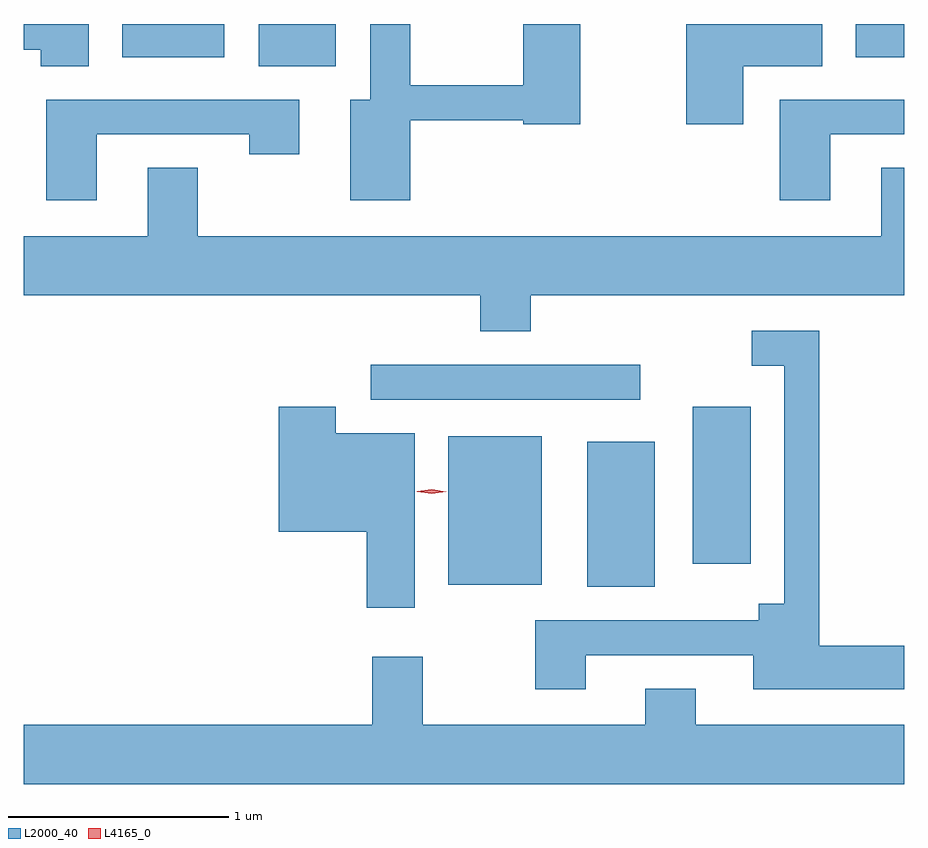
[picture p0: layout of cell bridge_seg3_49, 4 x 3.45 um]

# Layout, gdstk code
import gdstk
lib = gdstk.Library(unit=1e-6, precision=1e-09)
def R(c, l, rs):  # rectangles x0, y0, x1, y1
    for r in rs: c.add(gdstk.rectangle(r[:2], r[2:], *l))
def P(c, l, *ps):  # polygons
    for p in ps: c.add(gdstk.Polygon(p, *l))
L2000_40 = (2000, 40)
L4165_0 = (4165, 0)

bridge_seg3_49 = lib.new_cell('bridge_seg3_49')
R(bridge_seg3_49, L2000_40, [(1206.416,1164.651,1206.724,1165.309), (1205.786,1164.661,1206.209,1165.334), (1206.896,1164.756,1207.159,1165.469), (1205.433,1165.501,1206.658,1165.659), (1204.926,1167.016,1205.274,1167.207), (1204.306,1167.056,1204.769,1167.207), (1207.636,1167.056,1207.857,1167.207)])
P(bridge_seg3_49, L2000_40, [(1207.124,1167.016),(1207.484,1167.016),(1207.484,1167.207),(1206.866,1167.207),(1206.866,1166.751),(1207.124,1166.751)],
  [(1204.154,1167.207),(1203.857,1167.207),(1203.857,1167.091),(1203.936,1167.091),(1203.936,1167.016),(1204.154,1167.016)],
  [(1205.614,1166.771),(1206.126,1166.771),(1206.126,1166.751),(1206.384,1166.751),(1206.384,1167.207),(1206.126,1167.207),(1206.126,1166.929),(1205.614,1166.929),(1205.614,1167.207),(1205.431,1167.207),(1205.431,1166.864),(1205.341,1166.864),(1205.341,1166.406),(1205.614,1166.406)],
  [(1207.519,1166.706),(1207.857,1166.706),(1207.857,1166.864),(1207.291,1166.864),(1207.291,1166.406),(1207.519,1166.406)],
  [(1204.189,1166.706),(1204.881,1166.706),(1204.881,1166.616),(1205.109,1166.616),(1205.109,1166.864),(1203.961,1166.864),(1203.961,1166.406),(1204.189,1166.406)],
  [(1206.159,1165.976),(1207.857,1165.976),(1207.857,1166.554),(1207.751,1166.554),(1207.751,1166.244),(1204.649,1166.244),(1204.649,1166.554),(1204.421,1166.554),(1204.421,1166.244),(1203.857,1166.244),(1203.857,1165.976),(1205.931,1165.976),(1205.931,1165.811),(1206.159,1165.811)],
  [(1206.409,1164.341),(1207.171,1164.341),(1207.171,1164.186),(1207.857,1164.186),(1207.857,1164.384),(1207.469,1164.384),(1207.469,1165.814),(1207.163,1165.814),(1207.163,1165.656),(1207.311,1165.656),(1207.311,1164.574),(1207.196,1164.574),(1207.196,1164.499),(1206.181,1164.499),(1206.181,1164.186),(1206.409,1164.186)],
  [(1205.634,1165.349),(1205.274,1165.349),(1205.274,1165.469),(1205.016,1165.469),(1205.016,1164.901),(1205.416,1164.901),(1205.416,1164.556),(1205.634,1164.556)],
  [(1207.857,1164.024),(1206.909,1164.024),(1206.909,1164.189),(1206.681,1164.189),(1206.681,1164.024),(1205.669,1164.024),(1205.669,1164.334),(1205.441,1164.334),(1205.441,1164.024),(1203.857,1164.024),(1203.857,1163.756),(1207.857,1163.756)])
P(bridge_seg3_49, L4165_0, [(1205.71,1165.074),(1205.644,1165.084),(1205.643,1165.084),(1205.644,1165.085),(1205.71,1165.094),(1205.776,1165.084),(1205.776,1165.084),(1205.776,1165.083)])

lib.write_gds('bridge_seg3_49.gds')
